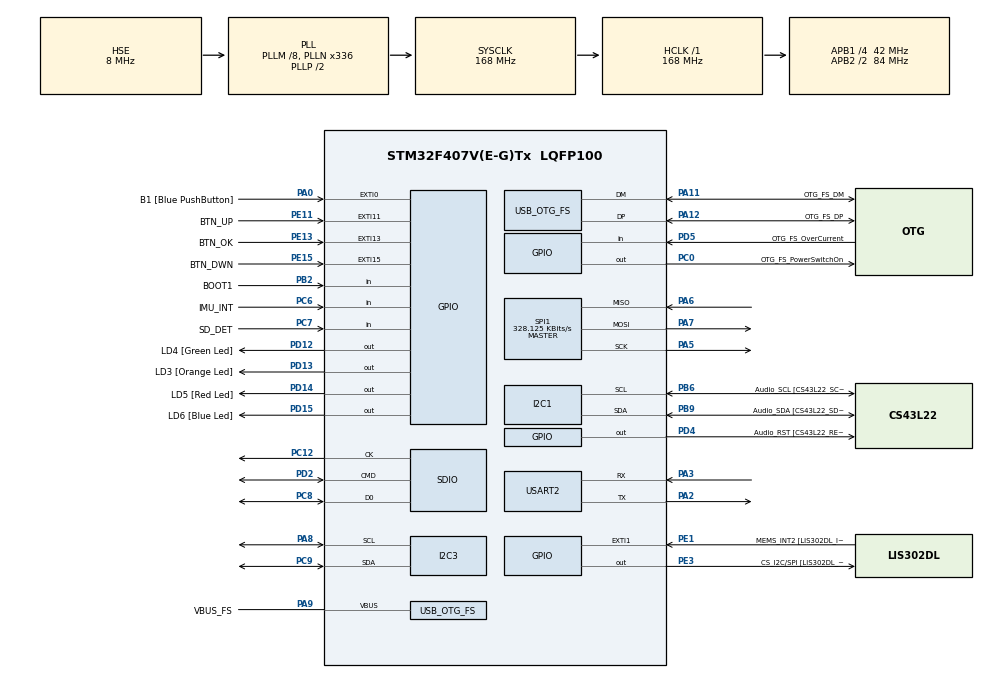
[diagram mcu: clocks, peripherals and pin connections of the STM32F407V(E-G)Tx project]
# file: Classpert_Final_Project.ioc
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Dma.I2C3_RX.0.Direction=DMA_PERIPH_TO_MEMORY
Dma.I2C3_RX.0.FIFOMode=DMA_FIFOMODE_DISABLE
Dma.I2C3_RX.0.Instance=DMA1_Stream2
Dma.I2C3_RX.0.MemDataAlignment=DMA_MDATAALIGN_BYTE
Dma.I2C3_RX.0.MemInc=DMA_MINC_ENABLE
Dma.I2C3_RX.0.Mode=DMA_NORMAL
Dma.I2C3_RX.0.PeriphDataAlignment=DMA_PDATAALIGN_BYTE
Dma.I2C3_RX.0.PeriphInc=DMA_PINC_DISABLE
Dma.I2C3_RX.0.Priority=DMA_PRIORITY_LOW
Dma.Request0=I2C3_RX
Dma.Request1=SDIO_RX
Dma.Request2=SDIO_TX
Dma.SDIO_RX.1.Direction=DMA_PERIPH_TO_MEMORY
Dma.SDIO_RX.1.FIFOMode=DMA_FIFOMODE_ENABLE
Dma.SDIO_RX.1.FIFOThreshold=DMA_FIFO_THRESHOLD_FULL
Dma.SDIO_RX.1.Instance=DMA2_Stream3
Dma.SDIO_RX.1.MemBurst=DMA_MBURST_INC4
Dma.SDIO_RX.1.MemDataAlignment=DMA_MDATAALIGN_WORD
Dma.SDIO_RX.1.MemInc=DMA_MINC_ENABLE
Dma.SDIO_RX.1.Mode=DMA_PFCTRL
Dma.SDIO_RX.1.PeriphBurst=DMA_PBURST_INC4
Dma.SDIO_RX.1.PeriphDataAlignment=DMA_PDATAALIGN_WORD
Dma.SDIO_RX.1.PeriphInc=DMA_PINC_DISABLE
Dma.SDIO_RX.1.Priority=DMA_PRIORITY_LOW
Dma.SDIO_TX.2.Direction=DMA_MEMORY_TO_PERIPH
Dma.SDIO_TX.2.FIFOMode=DMA_FIFOMODE_ENABLE
Dma.SDIO_TX.2.FIFOThreshold=DMA_FIFO_THRESHOLD_FULL
Dma.SDIO_TX.2.Instance=DMA2_Stream6
Dma.SDIO_TX.2.MemBurst=DMA_MBURST_INC4
Dma.SDIO_TX.2.MemDataAlignment=DMA_MDATAALIGN_WORD
Dma.SDIO_TX.2.MemInc=DMA_MINC_ENABLE
Dma.SDIO_TX.2.Mode=DMA_PFCTRL
Dma.SDIO_TX.2.PeriphBurst=DMA_PBURST_INC4
Dma.SDIO_TX.2.PeriphDataAlignment=DMA_PDATAALIGN_WORD
Dma.SDIO_TX.2.PeriphInc=DMA_PINC_DISABLE
Dma.SDIO_TX.2.Priority=DMA_PRIORITY_LOW
FATFS.BSP.number=1
FATFS.USE_DMA_CODE_SD=1
FATFS._FS_LOCK=4
FATFS._MAX_SS=4096
FATFS._USE_FIND=1
FATFS._USE_LFN=1
FATFS0.BSP.STBoard=false
FATFS0.BSP.api=Unknown
FATFS0.BSP.instance=PC7
FATFS0.BSP.ip=GPIO
FATFS0.BSP.mode=Input
FATFS0.BSP.name=Detect_SDIO
FATFS0.BSP.solution=PC7
I2C3.I2C_Mode=I2C_Fast
Mcu.Family=STM32F4
Mcu.Name=STM32F407V(E-G)Tx
Mcu.Package=LQFP100
NVIC.DMA1_Stream2_IRQn=true\:0\:0\:false\:false\:true\:false\:true\:true
NVIC.DMA2_Stream3_IRQn=true\:0\:0\:false\:false\:true\:false\:true\:true
NVIC.DMA2_Stream6_IRQn=true\:0\:0\:false\:false\:true\:false\:true\:true
NVIC.EXTI0_IRQn=true\:0\:0\:false\:false\:true\:true\:true\:true
NVIC.EXTI15_10_IRQn=true\:0\:0\:false\:false\:true\:true\:true\:true
NVIC.I2C3_ER_IRQn=true\:0\:0\:false\:false\:true\:true\:true\:true
NVIC.I2C3_EV_IRQn=true\:0\:0\:false\:false\:true\:true\:true\:true
NVIC.OTG_FS_IRQn=true\:0\:0\:false\:false\:true\:true\:true\:true
NVIC.PriorityGroup=NVIC_PRIORITYGROUP_0
NVIC.SDIO_IRQn=true\:0\:0\:false\:false\:true\:true\:true\:true
NVIC.TIM2_IRQn=true\:0\:0\:false\:false\:true\:true\:true\:true
PA0-WKUP.GPIO_Label=B1 [Blue PushButton]
PA0-WKUP.GPIO_ModeDefaultEXTI=GPIO_MODE_IT_RISING
PA0-WKUP.GPIO_PuPd=GPIO_NOPULL
PA0-WKUP.Signal=GPXTI0
PA11.GPIO_Label=OTG_FS_DM
PA11.GPIO_Mode=GPIO_MODE_AF_PP
PA11.GPIO_PuPd=GPIO_NOPULL
PA11.GPIO_Speed=GPIO_SPEED_FREQ_LOW
PA11.Mode=Device_Only
PA11.Signal=USB_OTG_FS_DM
PA12.GPIO_Label=OTG_FS_DP
PA12.GPIO_Mode=GPIO_MODE_AF_PP
PA12.GPIO_PuPd=GPIO_NOPULL
PA12.GPIO_Speed=GPIO_SPEED_FREQ_LOW
PA12.Mode=Device_Only
PA12.Signal=USB_OTG_FS_DP
PA13.GPIO_Label=SWDIO
PA13.Mode=Serial_Wire
PA13.Signal=SYS_JTMS-SWDIO
PA14.GPIO_Label=SWCLK
PA14.Mode=Serial_Wire
PA14.Signal=SYS_JTCK-SWCLK
PA2.Mode=Asynchronous
PA2.Signal=USART2_TX
PA3.Mode=Asynchronous
PA3.Signal=USART2_RX
PA5.Mode=Full_Duplex_Master
PA5.Signal=SPI1_SCK
PA6.Mode=Full_Duplex_Master
PA6.Signal=SPI1_MISO
PA7.Mode=Full_Duplex_Master
PA7.Signal=SPI1_MOSI
PA8.Mode=I2C
PA8.Signal=I2C3_SCL
PA9.GPIO_Label=VBUS_FS
PA9.GPIO_Mode=GPIO_MODE_INPUT
PA9.GPIO_PuPd=GPIO_NOPULL
PA9.Mode=Activate_VBUS
PA9.Signal=USB_OTG_FS_VBUS
PB2.GPIO_Label=BOOT1
PB2.GPIO_Mode=GPIO_MODE_INPUT
PB2.GPIO_PuPd=GPIO_NOPULL
PB2.Signal=GPIO_Input
PB6.GPIO_Label=Audio_SCL [CS43L22_SCL]
PB6.GPIO_Mode=GPIO_MODE_AF_OD
PB6.GPIO_Pu=GPIO_PULLUP
PB6.GPIO_PuPd=GPIO_NOPULL
PB6.GPIO_Speed=GPIO_SPEED_FREQ_LOW
PB6.Mode=I2C
PB6.Signal=I2C1_SCL
PB9.GPIO_Label=Audio_SDA [CS43L22_SDA]
PB9.GPIO_Mode=GPIO_MODE_AF_OD
PB9.GPIO_Pu=GPIO_PULLUP
PB9.GPIO_PuPd=GPIO_NOPULL
PB9.GPIO_Speed=GPIO_SPEED_FREQ_LOW
PB9.Mode=I2C
PB9.Signal=I2C1_SDA
PC0.GPIO_Label=OTG_FS_PowerSwitchOn
PC0.GPIO_PuPd=GPIO_NOPULL
PC0.GPIO_Speed=GPIO_SPEED_FREQ_LOW
PC0.PinState=GPIO_PIN_SET
PC0.Signal=GPIO_Output
PC12.GPIO_PuPd=GPIO_PULLUP
PC12.Mode=SD_1_bit
PC12.Signal=SDIO_CK
PC14-OSC32_IN.GPIO_Label=PC14-OSC32_IN
PC14-OSC32_IN.Mode=LSE-External-Oscillator
PC14-OSC32_IN.Signal=RCC_OSC32_IN
PC15-OSC32_OUT.GPIO_Label=PC15-OSC32_OUT
PC15-OSC32_OUT.Mode=LSE-External-Oscillator
PC15-OSC32_OUT.Signal=RCC_OSC32_OUT
PC6.GPIO_Label=IMU_INT
PC6.Signal=GPIO_Input
PC7.GPIO_Label=SD_DET
PC7.GPIO_PuPd=GPIO_PULLUP
PC7.Signal=GPIO_Input
PC8.GPIO_PuPd=GPIO_PULLUP
PC8.Mode=SD_1_bit
PC8.Signal=SDIO_D0
PC9.Mode=I2C
PC9.Signal=I2C3_SDA
PD12.GPIO_Label=LD4 [Green Led]
PD12.GPIO_PuPd=GPIO_NOPULL
PD12.GPIO_Speed=GPIO_SPEED_FREQ_LOW
PD12.Signal=GPIO_Output
PD13.GPIO_Label=LD3 [Orange Led]
PD13.GPIO_PuPd=GPIO_NOPULL
PD13.GPIO_Speed=GPIO_SPEED_FREQ_LOW
PD13.Signal=GPIO_Output
PD14.GPIO_Label=LD5 [Red Led]
PD14.GPIO_PuPd=GPIO_NOPULL
PD14.GPIO_Speed=GPIO_SPEED_FREQ_LOW
PD14.Signal=GPIO_Output
PD15.GPIO_Label=LD6 [Blue Led]
PD15.GPIO_PuPd=GPIO_NOPULL
PD15.GPIO_Speed=GPIO_SPEED_FREQ_LOW
PD15.Signal=GPIO_Output
PD2.GPIO_PuPd=GPIO_PULLUP
PD2.Mode=SD_1_bit
PD2.Signal=SDIO_CMD
PD4.GPIO_Label=Audio_RST [CS43L22_RESET]
PD4.GPIO_PuPd=GPIO_NOPULL
PD4.GPIO_Speed=GPIO_SPEED_FREQ_LOW
PD4.Signal=GPIO_Output
PD5.GPIO_Label=OTG_FS_OverCurrent
PD5.GPIO_Mode=GPIO_MODE_INPUT
PD5.GPIO_PuPd=GPIO_NOPULL
PD5.Signal=GPIO_Input
PE1.GPIO_Label=MEMS_INT2 [LIS302DL_INT2]
PE1.GPIO_ModeDefaultEXTI=GPIO_MODE_EVT_RISING
PE1.GPIO_PuPd=GPIO_NOPULL
PE1.Signal=GPXTI1
PE11.GPIO_Label=BTN_UP
PE11.GPIO_ModeDefaultEXTI=GPIO_MODE_IT_FALLING
PE11.GPIO_PuPd=GPIO_PULLUP
PE11.Signal=GPXTI11
PE13.GPIO_Label=BTN_OK
PE13.GPIO_ModeDefaultEXTI=GPIO_MODE_IT_FALLING
PE13.GPIO_PuPd=GPIO_PULLUP
PE13.Signal=GPXTI13
PE15.GPIO_Label=BTN_DWN
PE15.GPIO_ModeDefaultEXTI=GPIO_MODE_IT_FALLING
PE15.GPIO_PuPd=GPIO_PULLUP
PE15.Signal=GPXTI15
PE3.GPIO_Label=CS_I2C/SPI [LIS302DL_CS_I2C/SPI]
PE3.GPIO_PuPd=GPIO_NOPULL
PE3.GPIO_Speed=GPIO_SPEED_FREQ_LOW
PE3.Signal=GPIO_Output
PH0-OSC_IN.GPIO_Label=PH0-OSC_IN
PH0-OSC_IN.Mode=HSE-External-Oscillator
PH0-OSC_IN.Signal=RCC_OSC_IN
PH1-OSC_OUT.GPIO_Label=PH1-OSC_OUT
PH1-OSC_OUT.Mode=HSE-External-Oscillator
PH1-OSC_OUT.Signal=RCC_OSC_OUT
ProjectManager.HeapSize=0x200
ProjectManager.StackSize=0x400
ProjectManager.TargetToolchain=STM32CubeIDE
RCC.48MHZClocksFreq_Value=48000000
RCC.AHBFreq_Value=168000000
RCC.APB1CLKDivider=RCC_HCLK_DIV4
RCC.APB1Freq_Value=42000000
RCC.APB1TimFreq_Value=84000000
RCC.APB2CLKDivider=RCC_HCLK_DIV2
RCC.APB2Freq_Value=84000000
RCC.APB2TimFreq_Value=168000000
RCC.CortexFreq_Value=168000000
RCC.HCLKFreq_Value=168000000
RCC.HSE_VALUE=8000000
RCC.HSI_VALUE=16000000
RCC.PLLM=8
RCC.PLLN=336
RCC.PLLQ=7
RCC.SYSCLKFreq_VALUE=168000000
RCC.SYSCLKSource=RCC_SYSCLKSOURCE_PLLCLK
RCC.VCOOutputFreq_Value=336000000
SDIO.ClockDiv=255
SPI1.BaudRatePrescaler=SPI_BAUDRATEPRESCALER_256
SPI1.CalculateBaudRate=328.125 KBits/s
SPI1.Direction=SPI_DIRECTION_2LINES
SPI1.Mode=SPI_MODE_MASTER
SPI1.VirtualType=VM_MASTER
TIM2.Channel-Output\ Compare1\ No\ Output=TIM_CHANNEL_1
TIM2.CounterMode=TIM_COUNTERMODE_DOWN
TIM2.Period=20000
TIM2.Prescaler=84
TIM2.Pulse-Output\ Compare1\ No\ Output=20000
USART2.VirtualMode=VM_ASYNC
USB_DEVICE.CLASS_NAME_FS=CDC
USB_DEVICE.VirtualMode-CDC_FS=Cdc
USB_DEVICE.VirtualModeFS=Cdc_FS
USB_OTG_FS.VirtualMode=Device_Only
VP_FATFS_VS_SDIO.Mode=SDIO
VP_RNG_VS_RNG.Mode=RNG_Activate
VP_RTC_VS_RTC_Activate.Mode=RTC_Enabled
VP_TIM2_VS_ClockSourceINT.Mode=Internal
VP_TIM2_VS_no_output1.Mode=Output Compare1 No Output
VP_USB_DEVICE_VS_USB_DEVICE_CDC_FS.Mode=CDC_FS
board=STM32F407G-DISC1

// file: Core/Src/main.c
/* USER CODE BEGIN Header */
/**
  ******************************************************************************
  * @file           : main.c
  * @brief          : Main program body
  ******************************************************************************
  * @attention
  *
  * Copyright (c) 2023 STMicroelectronics.
  * All rights reserved.
  *
  * This software is licensed under terms that can be found in the LICENSE file
  * in the root directory of this software component.
  * If no LICENSE file comes with this software, it is provided AS-IS.
  *
  ******************************************************************************
  */
/* USER CODE END Header */
#include "main.h"
#include "fatfs.h"
#include "usb_device.h"

/* USER CODE BEGIN Includes */
#include "custom_pindefines.h"
#include "state_defines.h"
#include "version.h"
#include "app.h"
#include "console.h"
#include "displayFunctions.h"
#include "mpu6050.h"
#include "usbd_cdc_if.h"
#include "string.h"
#include "stdarg.h"
#include "terminalColorCodes.h"
#include "logging.h"
#include "sd_handler.h"

#include "printHeader.h"
/* USER CODE END Includes */

/* USER CODE BEGIN PD */
#define ERROR_LED_DELAY	1000000
#define	ERROR_PRINT_DELAY	50
#define PUTCHAR_PROTOTYPE int __io_putchar(int ch)

#define LIBRARY_LOG_LEVEL	LOG_INFO

#define	LIBRARY_LOG_NAME	"MAIN"

/*Define if the logging output has to be send trough UART or USB.  The USB doubles as the commandline connection.
 *
 * */
#define LOGUART
//#define LOGUSB

/* USER CODE END PD */

I2C_HandleTypeDef hi2c1;
I2C_HandleTypeDef hi2c3;
DMA_HandleTypeDef hdma_i2c3_rx;

RNG_HandleTypeDef hrng;

RTC_HandleTypeDef hrtc;

SD_HandleTypeDef hsd;
DMA_HandleTypeDef hdma_sdio_rx;
DMA_HandleTypeDef hdma_sdio_tx;

SPI_HandleTypeDef hspi1;

TIM_HandleTypeDef htim2;

UART_HandleTypeDef huart2;

/* USER CODE BEGIN PV */
deviceStates_t deviceStates;
MPU6050_t mpu6050;

const char xCompileDate[] = __DATE__;
const char xCompileTime[] = __TIME__;

/* USER CODE END PV */

void SystemClock_Config(void);
static void MX_GPIO_Init(void);
static void MX_DMA_Init(void);
static void MX_I2C1_Init(void);
static void MX_TIM2_Init(void);
static void MX_RNG_Init(void);
static void MX_USART2_UART_Init(void);
static void MX_I2C3_Init(void);
static void MX_SPI1_Init(void);
static void MX_SDIO_SD_Init(void);
static void MX_RTC_Init(void);
/* USER CODE BEGIN PFP */
uint8_t sdCardpresentVar = 0;
uint32_t buttonPressed = 0;

/* USER CODE END PFP */

int main(void)
{
  /* USER CODE BEGIN 1 */
	unsigned char usbString[200];
  /* USER CODE END 1 */

  /* MCU Configuration--------------------------------------------------------*/

  /* Reset of all peripherals, Initializes the Flash interface and the Systick. */
  HAL_Init();

  /* Configure the system clock */
  SystemClock_Config();

  /* Initialize all configured peripherals */
  MX_GPIO_Init();
  MX_DMA_Init();
  MX_I2C1_Init();
  MX_TIM2_Init();
  MX_USB_DEVICE_Init();
  MX_RNG_Init();
  MX_USART2_UART_Init();
  MX_I2C3_Init();
  MX_FATFS_Init();
  MX_SPI1_Init();
  MX_SDIO_SD_Init();
  MX_RTC_Init();
  /* USER CODE BEGIN 2 */

  HAL_Delay(3000);	//Delay allows to reconnect USB after reboot

  printHeader();

  HAL_Delay(500);

  /*Print Firmware version*/
  logInfo( "Classpert Green Turtels Final project");
  logInfo("Aim-A-Lyzer, version: %d.%d.%d", FIRMWARE_MAJOR, FIRMWARE_MINOR, FIRMWARE_BUILD);
  logInfo("Build on: %s at %s", __DATE__, __TIME__);
  logInfo( "Created by Nick Meynen");

  startConsole();

  /* USER CODE END 2 */

  /* Infinite loop */
  /* USER CODE BEGIN WHILE */
  while (1)
  {
	  mainApp();
    /* USER CODE END WHILE */

  }
}

void SystemClock_Config(void)
{
  RCC_OscInitTypeDef RCC_OscInitStruct = {0};
  RCC_ClkInitTypeDef RCC_ClkInitStruct = {0};

  /** Configure the main internal regulator output voltage
  */
  __HAL_RCC_PWR_CLK_ENABLE();
  __HAL_PWR_VOLTAGESCALING_CONFIG(PWR_REGULATOR_VOLTAGE_SCALE1);

  /** Initializes the RCC Oscillators according to the specified parameters
  * in the RCC_OscInitTypeDef structure.
  */
  RCC_OscInitStruct.OscillatorType = RCC_OSCILLATORTYPE_LSI|RCC_OSCILLATORTYPE_HSE;
  RCC_OscInitStruct.HSEState = RCC_HSE_ON;
  RCC_OscInitStruct.LSIState = RCC_LSI_ON;
  RCC_OscInitStruct.PLL.PLLState = RCC_PLL_ON;
  RCC_OscInitStruct.PLL.PLLSource = RCC_PLLSOURCE_HSE;
  RCC_OscInitStruct.PLL.PLLM = 8;
  RCC_OscInitStruct.PLL.PLLN = 336;
  RCC_OscInitStruct.PLL.PLLP = RCC_PLLP_DIV2;
  RCC_OscInitStruct.PLL.PLLQ = 7;
  if (HAL_RCC_OscConfig(&RCC_OscInitStruct) != HAL_OK)
  {
    Error_Handler();
  }

  /** Initializes the CPU, AHB and APB buses clocks
  */
  RCC_ClkInitStruct.ClockType = RCC_CLOCKTYPE_HCLK|RCC_CLOCKTYPE_SYSCLK
                              |RCC_CLOCKTYPE_PCLK1|RCC_CLOCKTYPE_PCLK2;
  RCC_ClkInitStruct.SYSCLKSource = RCC_SYSCLKSOURCE_PLLCLK;
  RCC_ClkInitStruct.AHBCLKDivider = RCC_SYSCLK_DIV1;
  RCC_ClkInitStruct.APB1CLKDivider = RCC_HCLK_DIV4;
  RCC_ClkInitStruct.APB2CLKDivider = RCC_HCLK_DIV2;

  if (HAL_RCC_ClockConfig(&RCC_ClkInitStruct, FLASH_LATENCY_5) != HAL_OK)
  {
    Error_Handler();
  }
}

static void MX_I2C1_Init(void)
{

  hi2c1.Instance = I2C1;
  hi2c1.Init.ClockSpeed = 100000;
  hi2c1.Init.DutyCycle = I2C_DUTYCYCLE_2;
  hi2c1.Init.OwnAddress1 = 0;
  hi2c1.Init.AddressingMode = I2C_ADDRESSINGMODE_7BIT;
  hi2c1.Init.DualAddressMode = I2C_DUALADDRESS_DISABLE;
  hi2c1.Init.OwnAddress2 = 0;
  hi2c1.Init.GeneralCallMode = I2C_GENERALCALL_DISABLE;
  hi2c1.Init.NoStretchMode = I2C_NOSTRETCH_DISABLE;
  if (HAL_I2C_Init(&hi2c1) != HAL_OK)
  {
    Error_Handler();
  }

}

static void MX_I2C3_Init(void)
{

  hi2c3.Instance = I2C3;
  hi2c3.Init.ClockSpeed = 400000;
  hi2c3.Init.DutyCycle = I2C_DUTYCYCLE_2;
  hi2c3.Init.OwnAddress1 = 0;
  hi2c3.Init.AddressingMode = I2C_ADDRESSINGMODE_7BIT;
  hi2c3.Init.DualAddressMode = I2C_DUALADDRESS_DISABLE;
  hi2c3.Init.OwnAddress2 = 0;
  hi2c3.Init.GeneralCallMode = I2C_GENERALCALL_DISABLE;
  hi2c3.Init.NoStretchMode = I2C_NOSTRETCH_DISABLE;
  if (HAL_I2C_Init(&hi2c3) != HAL_OK)
  {
    Error_Handler();
  }

}

static void MX_RNG_Init(void)
{

  hrng.Instance = RNG;
  if (HAL_RNG_Init(&hrng) != HAL_OK)
  {
    Error_Handler();
  }

}

static void MX_RTC_Init(void)
{

  /** Initialize RTC Only
  */
  hrtc.Instance = RTC;
  hrtc.Init.HourFormat = RTC_HOURFORMAT_24;
  hrtc.Init.AsynchPrediv = 127;
  hrtc.Init.SynchPrediv = 255;
  hrtc.Init.OutPut = RTC_OUTPUT_DISABLE;
  hrtc.Init.OutPutPolarity = RTC_OUTPUT_POLARITY_HIGH;
  hrtc.Init.OutPutType = RTC_OUTPUT_TYPE_OPENDRAIN;
  if (HAL_RTC_Init(&hrtc) != HAL_OK)
  {
    Error_Handler();
  }

}

static void MX_SDIO_SD_Init(void)
{

  hsd.Instance = SDIO;
  hsd.Init.ClockEdge = SDIO_CLOCK_EDGE_RISING;
  hsd.Init.ClockBypass = SDIO_CLOCK_BYPASS_DISABLE;
  hsd.Init.ClockPowerSave = SDIO_CLOCK_POWER_SAVE_DISABLE;
  hsd.Init.BusWide = SDIO_BUS_WIDE_1B;
  hsd.Init.HardwareFlowControl = SDIO_HARDWARE_FLOW_CONTROL_DISABLE;
  hsd.Init.ClockDiv = 255;

}

static void MX_SPI1_Init(void)
{

  /* SPI1 parameter configuration*/
  hspi1.Instance = SPI1;
  hspi1.Init.Mode = SPI_MODE_MASTER;
  hspi1.Init.Direction = SPI_DIRECTION_2LINES;
  hspi1.Init.DataSize = SPI_DATASIZE_8BIT;
  hspi1.Init.CLKPolarity = SPI_POLARITY_LOW;
  hspi1.Init.CLKPhase = SPI_PHASE_1EDGE;
  hspi1.Init.NSS = SPI_NSS_SOFT;
  hspi1.Init.BaudRatePrescaler = SPI_BAUDRATEPRESCALER_256;
  hspi1.Init.FirstBit = SPI_FIRSTBIT_MSB;
  hspi1.Init.TIMode = SPI_TIMODE_DISABLE;
  hspi1.Init.CRCCalculation = SPI_CRCCALCULATION_DISABLE;
  hspi1.Init.CRCPolynomial = 10;
  if (HAL_SPI_Init(&hspi1) != HAL_OK)
  {
    Error_Handler();
  }

}

static void MX_TIM2_Init(void)
{

  TIM_ClockConfigTypeDef sClockSourceConfig = {0};
  TIM_MasterConfigTypeDef sMasterConfig = {0};
  TIM_OC_InitTypeDef sConfigOC = {0};

  htim2.Instance = TIM2;
  htim2.Init.Prescaler = 84;
  htim2.Init.CounterMode = TIM_COUNTERMODE_DOWN;
  htim2.Init.Period = 20000;
  htim2.Init.ClockDivision = TIM_CLOCKDIVISION_DIV1;
  htim2.Init.AutoReloadPreload = TIM_AUTORELOAD_PRELOAD_DISABLE;
  if (HAL_TIM_Base_Init(&htim2) != HAL_OK)
  {
    Error_Handler();
  }
  sClockSourceConfig.ClockSource = TIM_CLOCKSOURCE_INTERNAL;
  if (HAL_TIM_ConfigClockSource(&htim2, &sClockSourceConfig) != HAL_OK)
  {
    Error_Handler();
  }
  if (HAL_TIM_OC_Init(&htim2) != HAL_OK)
  {
    Error_Handler();
  }
  sMasterConfig.MasterOutputTrigger = TIM_TRGO_RESET;
  sMasterConfig.MasterSlaveMode = TIM_MASTERSLAVEMODE_DISABLE;
  if (HAL_TIMEx_MasterConfigSynchronization(&htim2, &sMasterConfig) != HAL_OK)
  {
    Error_Handler();
  }
  sConfigOC.OCMode = TIM_OCMODE_TIMING;
  sConfigOC.Pulse = 20000;
  sConfigOC.OCPolarity = TIM_OCPOLARITY_HIGH;
  sConfigOC.OCFastMode = TIM_OCFAST_DISABLE;
  if (HAL_TIM_OC_ConfigChannel(&htim2, &sConfigOC, TIM_CHANNEL_1) != HAL_OK)
  {
    Error_Handler();
  }

}

static void MX_USART2_UART_Init(void)
{

  huart2.Instance = USART2;
  huart2.Init.BaudRate = 115200;
  huart2.Init.WordLength = UART_WORDLENGTH_8B;
  huart2.Init.StopBits = UART_STOPBITS_1;
  huart2.Init.Parity = UART_PARITY_NONE;
  huart2.Init.Mode = UART_MODE_TX_RX;
  huart2.Init.HwFlowCtl = UART_HWCONTROL_NONE;
  huart2.Init.OverSampling = UART_OVERSAMPLING_16;
  if (HAL_UART_Init(&huart2) != HAL_OK)
  {
    Error_Handler();
  }

}

static void MX_DMA_Init(void)
{

  /* DMA controller clock enable */
  __HAL_RCC_DMA1_CLK_ENABLE();
  __HAL_RCC_DMA2_CLK_ENABLE();

  /* DMA interrupt init */
  /* DMA1_Stream2_IRQn interrupt configuration */
  HAL_NVIC_SetPriority(DMA1_Stream2_IRQn, 0, 0);
  HAL_NVIC_EnableIRQ(DMA1_Stream2_IRQn);
  /* DMA2_Stream3_IRQn interrupt configuration */
  HAL_NVIC_SetPriority(DMA2_Stream3_IRQn, 0, 0);
  HAL_NVIC_EnableIRQ(DMA2_Stream3_IRQn);
  /* DMA2_Stream6_IRQn interrupt configuration */
  HAL_NVIC_SetPriority(DMA2_Stream6_IRQn, 0, 0);
  HAL_NVIC_EnableIRQ(DMA2_Stream6_IRQn);

}

static void MX_GPIO_Init(void)
{
  GPIO_InitTypeDef GPIO_InitStruct = {0};

  /* GPIO Ports Clock Enable */
  __HAL_RCC_GPIOE_CLK_ENABLE();
  __HAL_RCC_GPIOC_CLK_ENABLE();
  __HAL_RCC_GPIOH_CLK_ENABLE();
  __HAL_RCC_GPIOA_CLK_ENABLE();
  __HAL_RCC_GPIOB_CLK_ENABLE();
  __HAL_RCC_GPIOD_CLK_ENABLE();

  /*Configure GPIO pin Output Level */
  HAL_GPIO_WritePin(CS_I2C_SPI_GPIO_Port, CS_I2C_SPI_Pin, GPIO_PIN_RESET);

  /*Configure GPIO pin Output Level */
  HAL_GPIO_WritePin(OTG_FS_PowerSwitchOn_GPIO_Port, OTG_FS_PowerSwitchOn_Pin, GPIO_PIN_SET);

  /*Configure GPIO pin Output Level */
  HAL_GPIO_WritePin(GPIOD, LD4_Pin|LD3_Pin|LD5_Pin|LD6_Pin
                          |Audio_RST_Pin, GPIO_PIN_RESET);

  /*Configure GPIO pin : CS_I2C_SPI_Pin */
  GPIO_InitStruct.Pin = CS_I2C_SPI_Pin;
  GPIO_InitStruct.Mode = GPIO_MODE_OUTPUT_PP;
  GPIO_InitStruct.Pull = GPIO_NOPULL;
  GPIO_InitStruct.Speed = GPIO_SPEED_FREQ_LOW;
  HAL_GPIO_Init(CS_I2C_SPI_GPIO_Port, &GPIO_InitStruct);

  /*Configure GPIO pin : OTG_FS_PowerSwitchOn_Pin */
  GPIO_InitStruct.Pin = OTG_FS_PowerSwitchOn_Pin;
  GPIO_InitStruct.Mode = GPIO_MODE_OUTPUT_PP;
  GPIO_InitStruct.Pull = GPIO_NOPULL;
  GPIO_InitStruct.Speed = GPIO_SPEED_FREQ_LOW;
  HAL_GPIO_Init(OTG_FS_PowerSwitchOn_GPIO_Port, &GPIO_InitStruct);

  /*Configure GPIO pin : B1_Pin */
  GPIO_InitStruct.Pin = B1_Pin;
  GPIO_InitStruct.Mode = GPIO_MODE_IT_RISING;
  GPIO_InitStruct.Pull = GPIO_NOPULL;
  HAL_GPIO_Init(B1_GPIO_Port, &GPIO_InitStruct);

  /*Configure GPIO pin : BOOT1_Pin */
  GPIO_InitStruct.Pin = BOOT1_Pin;
  GPIO_InitStruct.Mode = GPIO_MODE_INPUT;
  GPIO_InitStruct.Pull = GPIO_NOPULL;
  HAL_GPIO_Init(BOOT1_GPIO_Port, &GPIO_InitStruct);

  /*Configure GPIO pins : BTN_UP_Pin BTN_OK_Pin BTN_DWN_Pin */
  GPIO_InitStruct.Pin = BTN_UP_Pin|BTN_OK_Pin|BTN_DWN_Pin;
  GPIO_InitStruct.Mode = GPIO_MODE_IT_FALLING;
  GPIO_InitStruct.Pull = GPIO_PULLUP;
  HAL_GPIO_Init(GPIOE, &GPIO_InitStruct);

  /*Configure GPIO pins : LD4_Pin LD3_Pin LD5_Pin LD6_Pin
                           Audio_RST_Pin */
  GPIO_InitStruct.Pin = LD4_Pin|LD3_Pin|LD5_Pin|LD6_Pin
                          |Audio_RST_Pin;
  GPIO_InitStruct.Mode = GPIO_MODE_OUTPUT_PP;
  GPIO_InitStruct.Pull = GPIO_NOPULL;
  GPIO_InitStruct.Speed = GPIO_SPEED_FREQ_LOW;
  HAL_GPIO_Init(GPIOD, &GPIO_InitStruct);

  /*Configure GPIO pin : IMU_INT_Pin */
  GPIO_InitStruct.Pin = IMU_INT_Pin;
  GPIO_InitStruct.Mode = GPIO_MODE_INPUT;
  GPIO_InitStruct.Pull = GPIO_NOPULL;
  HAL_GPIO_Init(IMU_INT_GPIO_Port, &GPIO_InitStruct);

  /*Configure GPIO pin : SD_DET_Pin */
  GPIO_InitStruct.Pin = SD_DET_Pin;
  GPIO_InitStruct.Mode = GPIO_MODE_INPUT;
  GPIO_InitStruct.Pull = GPIO_PULLUP;
  HAL_GPIO_Init(SD_DET_GPIO_Port, &GPIO_InitStruct);

  /*Configure GPIO pin : OTG_FS_OverCurrent_Pin */
  GPIO_InitStruct.Pin = OTG_FS_OverCurrent_Pin;
  GPIO_InitStruct.Mode = GPIO_MODE_INPUT;
  GPIO_InitStruct.Pull = GPIO_NOPULL;
  HAL_GPIO_Init(OTG_FS_OverCurrent_GPIO_Port, &GPIO_InitStruct);

  /*Configure GPIO pin : MEMS_INT2_Pin */
  GPIO_InitStruct.Pin = MEMS_INT2_Pin;
  GPIO_InitStruct.Mode = GPIO_MODE_EVT_RISING;
  GPIO_InitStruct.Pull = GPIO_NOPULL;
  HAL_GPIO_Init(MEMS_INT2_GPIO_Port, &GPIO_InitStruct);

  /* EXTI interrupt init*/
  HAL_NVIC_SetPriority(EXTI0_IRQn, 0, 0);
  HAL_NVIC_EnableIRQ(EXTI0_IRQn);

  HAL_NVIC_SetPriority(EXTI15_10_IRQn, 0, 0);
  HAL_NVIC_EnableIRQ(EXTI15_10_IRQn);

}

/* USER CODE BEGIN 4 */
void HAL_GPIO_EXTI_Callback(uint16_t GPIO_Pin)
{
	//HAL_GPIO_TogglePin(GPIOD, LED_ORANGE);
	//Start timer
	if(GPIO_Pin == BTN_OK || GPIO_Pin == BTN_DWN || GPIO_Pin == BTN_UP)
	{
		HAL_TIM_Base_Start_IT(&htim2);
	}
}

void HAL_TIM_PeriodElapsedCallback(TIM_HandleTypeDef *htim)
{

	if(htim->Instance == TIM2)	//Button debounce timer
	{
		htim2.Instance->SR &= ~TIM_SR_UIF;	//Clear int pending flag
		htim2.Instance->SR &= ~TIM_SR_TIF;	//Clear trigger interrupt flag
		htim2.Init.Period = 0;

		if(HAL_GPIO_ReadPin(GPIOE, BTN_OK) == 0)
		{
			HAL_GPIO_TogglePin(GPIOD, LED_ORANGE);
			buttonPressed = BTN_OK;
		}

		if(HAL_GPIO_ReadPin(GPIOE, BTN_UP) == 0)
		{
			HAL_GPIO_TogglePin(GPIOD, LED_GREEN);
			buttonPressed = BTN_UP;
		}

		if(HAL_GPIO_ReadPin(GPIOE, BTN_DWN) == 0)
		{
			HAL_GPIO_TogglePin(GPIOD, LED_BLUE);
			buttonPressed = BTN_DWN;
		}

		HAL_TIM_Base_Stop(&htim2);
		__HAL_TIM_SET_COUNTER(&htim2, 20000);
	}

}

void HAL_DMA_Callback(DMA_HandleTypeDef * hdma)
{
	//Toggle orange LED
	HAL_GPIO_TogglePin(GPIOD, LED_ORANGE);

}

void HAL_I2C_MasterRxCptlCallback(I2C_HandleTypeDef * hi2c)
{
	HAL_GPIO_TogglePin(GPIOD, LED_GREEN);
}

void HAL_I2C_MemRxCpltCallback(I2C_HandleTypeDef *hi2c)
{
	HAL_GPIO_TogglePin(GPIOD, LED_BLUE);
}

PUTCHAR_PROTOTYPE
{
#ifdef LOGUART
	HAL_UART_Transmit(&huart2, (uint8_t *)&ch, 1, 0xFFFF);
	return 0;
#endif

#ifdef LOGUSB
	CDC_Transmit_FS((uint8_t *)&ch, 1);
	return 0;
#endif
}

/* USER CODE END 4 */

void Error_Handler(void)
{
  /* USER CODE BEGIN Error_Handler_Debug */
  /* User can add his own implementation to report the HAL error return state */
	uint32_t lCounter = ERROR_PRINT_DELAY + 1;
	uint32_t lDelay = 0;
  __disable_irq();

  while (1)
  {
	  HAL_GPIO_TogglePin(GPIOD, LED_RED);
	  if (lCounter++ > (ERROR_PRINT_DELAY))
	  {
		  logError("Error Handler triggered");
		  lCounter = 0;
	  }
	  while(lDelay < ERROR_LED_DELAY){lDelay++;}
	  lDelay = 0;

  }
  /* USER CODE END Error_Handler_Debug */
}
